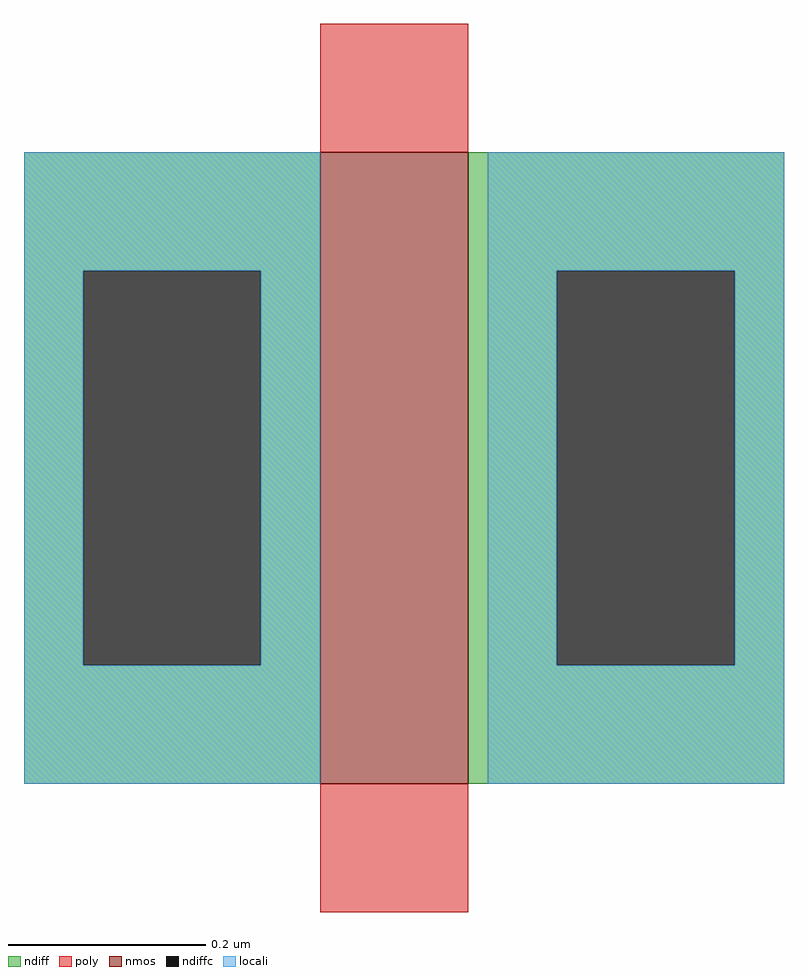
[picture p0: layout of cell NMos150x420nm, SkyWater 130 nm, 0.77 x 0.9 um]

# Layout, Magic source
magic
tech sky130A
<< nmos >>
rect 10 -23 25 41
<< ndiff >>
rect -20 29 10 41
rect -20 -11 -14 29
rect 4 -11 10 29
rect -20 -23 10 -11
rect 25 29 57 41
rect 25 -11 34 29
rect 52 -11 57 29
rect 25 -23 57 -11
<< ndiffc >>
rect -14 -11 4 29
rect 34 -11 52 29
<< poly >>
rect 10 41 25 54
rect 10 -36 25 -23
<< locali >>
rect -20 29 10 41
rect -20 -11 -14 29
rect 4 -11 10 29
rect -20 -23 10 -11
rect 27 29 57 41
rect 27 -11 34 29
rect 52 -11 57 29
rect 27 -23 57 -11
<< end >>
